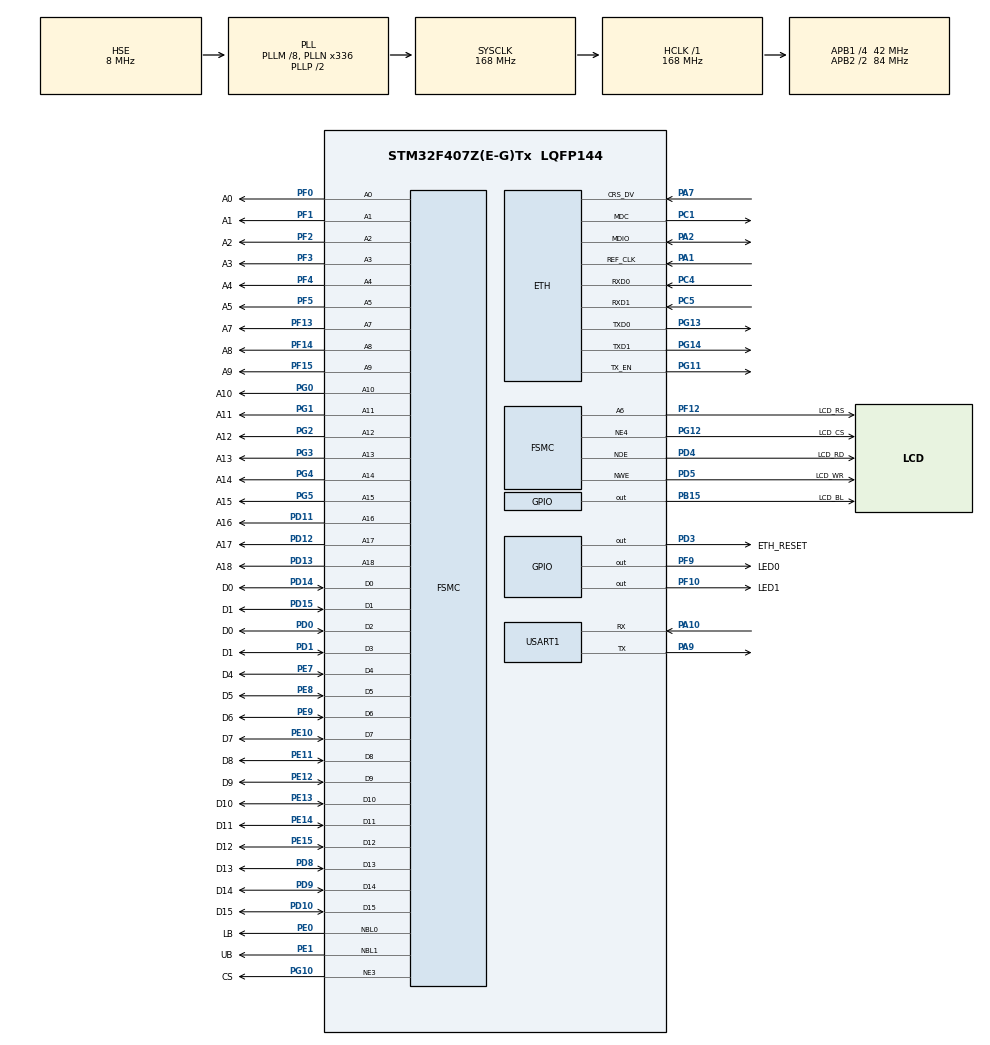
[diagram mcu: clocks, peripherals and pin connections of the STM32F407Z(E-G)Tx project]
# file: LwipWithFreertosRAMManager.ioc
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ETH.MediaInterface=ETH_MEDIA_INTERFACE_RMII
ETH.PHY_DUPLEX_STATUS=0x2000
ETH.PHY_Name_RMII=userPHY
ETH.PHY_SPEED_STATUS=0x4010
ETH.PHY_SR=0x11
ETH.PhyAddress=0
FREERTOS.HEAP_NUMBER=5
FREERTOS.MEMORY_ALLOCATION=0
FREERTOS.Tasks01=defaultTask,0,4096,StartDefaultTask,Default,NULL,Dynamic,NULL,NULL
FREERTOS.configTOTAL_HEAP_SIZE=40960
FSMC.AddressSetupTime1=2
FSMC.BusTurnAroundDuration1=0
FSMC.DataSetupTime1=8
FSMC.DataSetupTime2=60
FSMC.ExtendedAddressSetupTime2=9
FSMC.ExtendedDataSetupTime2=9
FSMC.ExtendedMode2=FSMC_EXTENDED_MODE_ENABLE
FSMC.WriteOperation1=FSMC_WRITE_OPERATION_ENABLE
LWIP.GATEWAY_ADDRESS=010.010.001.001
LWIP.IP_ADDRESS=010.010.001.022
LWIP.LWIP_ALLOW_MEM_FREE_FROM_OTHER_CONTEXT=0
LWIP.LWIP_DHCP=0
LWIP.LWIP_NETIF_LINK_CALLBACK=1
LWIP.MEMP_MEM_MALLOC=1
LWIP.MEMP_USE_CUSTOM_POOLS=0
LWIP.MEM_SIZE=16384
LWIP.MEM_USE_POOLS_TRY_BIGGER_POOL=0
LWIP.NETMASK_ADDRESS=255.255.255.000
LWIP.Version=v2.0.3_Cube
Mcu.Family=STM32F4
Mcu.Name=STM32F407Z(E-G)Tx
Mcu.Package=LQFP144
NVIC.ETH_IRQn=true\:5\:0\:false\:false\:true\:true\:true\:true
NVIC.PriorityGroup=NVIC_PRIORITYGROUP_4
NVIC.TIM1_UP_TIM10_IRQn=true\:0\:0\:false\:false\:true\:false\:false\:true
NVIC.TimeBase=TIM1_UP_TIM10_IRQn
NVIC.TimeBaseIP=TIM1
PA1.Mode=RMII
PA1.Signal=ETH_REF_CLK
PA10.Mode=Asynchronous
PA10.Signal=USART1_RX
PA13.Mode=Serial_Wire
PA13.Signal=SYS_JTMS-SWDIO
PA14.Mode=Serial_Wire
PA14.Signal=SYS_JTCK-SWCLK
PA2.Mode=RMII
PA2.Signal=ETH_MDIO
PA7.Mode=RMII
PA7.Signal=ETH_CRS_DV
PA9.Mode=Asynchronous
PA9.Signal=USART1_TX
PB15.GPIO_Label=LCD_BL
PB15.GPIO_PuPd=GPIO_PULLDOWN
PB15.GPIO_Speed=GPIO_SPEED_FREQ_HIGH
PB15.PinState=GPIO_PIN_SET
PB15.Signal=GPIO_Output
PC1.Mode=RMII
PC1.Signal=ETH_MDC
PC4.Mode=RMII
PC4.Signal=ETH_RXD0
PC5.Mode=RMII
PC5.Signal=ETH_RXD1
PD0.GPIO_Label=D0
PD0.GPIO_PuPd=GPIO_PULLUP
PD0.Signal=FSMC_D2_DA2
PD1.GPIO_Label=D1
PD1.GPIO_PuPd=GPIO_PULLUP
PD1.Signal=FSMC_D3_DA3
PD10.GPIO_Label=D15
PD10.GPIO_PuPd=GPIO_PULLUP
PD10.Signal=FSMC_D15_DA15
PD11.GPIO_Label=A16
PD11.GPIO_PuPd=GPIO_PULLUP
PD11.Signal=FSMC_A16_CLE
PD12.GPIO_Label=A17
PD12.GPIO_PuPd=GPIO_PULLUP
PD12.Signal=FSMC_A17_ALE
PD13.GPIO_Label=A18
PD13.GPIO_PuPd=GPIO_PULLUP
PD13.Signal=FSMC_A18
PD14.GPIO_Label=D0
PD14.GPIO_PuPd=GPIO_PULLUP
PD14.Signal=FSMC_D0_DA0
PD15.GPIO_Label=D1
PD15.GPIO_PuPd=GPIO_PULLUP
PD15.Signal=FSMC_D1_DA1
PD3.GPIO_Label=ETH_RESET
PD3.GPIO_Speed=GPIO_SPEED_FREQ_VERY_HIGH
PD3.PinState=GPIO_PIN_SET
PD3.Signal=GPIO_Output
PD4.GPIO_Label=LCD_RD
PD4.GPIO_PuPd=GPIO_PULLUP
PD4.Signal=FSMC_NOE
PD5.GPIO_Label=LCD_WR
PD5.GPIO_PuPd=GPIO_PULLUP
PD5.Signal=FSMC_NWE
PD8.GPIO_Label=D13
PD8.GPIO_PuPd=GPIO_PULLUP
PD8.Signal=FSMC_D13_DA13
PD9.GPIO_Label=D14
PD9.GPIO_PuPd=GPIO_PULLUP
PD9.Signal=FSMC_D14_DA14
PE0.GPIO_Label=LB
PE0.GPIO_PuPd=GPIO_PULLUP
PE0.Signal=FSMC_NBL0
PE1.GPIO_Label=UB
PE1.GPIO_PuPd=GPIO_PULLUP
PE1.Signal=FSMC_NBL1
PE10.GPIO_Label=D7
PE10.GPIO_PuPd=GPIO_PULLUP
PE10.Signal=FSMC_D7_DA7
PE11.GPIO_Label=D8
PE11.GPIO_PuPd=GPIO_PULLUP
PE11.Signal=FSMC_D8_DA8
PE12.GPIO_Label=D9
PE12.GPIO_PuPd=GPIO_PULLUP
PE12.Signal=FSMC_D9_DA9
PE13.GPIO_Label=D10
PE13.GPIO_PuPd=GPIO_PULLUP
PE13.Signal=FSMC_D10_DA10
PE14.GPIO_Label=D11
PE14.GPIO_PuPd=GPIO_PULLUP
PE14.Signal=FSMC_D11_DA11
PE15.GPIO_Label=D12
PE15.GPIO_PuPd=GPIO_PULLUP
PE15.Signal=FSMC_D12_DA12
PE7.GPIO_Label=D4
PE7.GPIO_PuPd=GPIO_PULLUP
PE7.Signal=FSMC_D4_DA4
PE8.GPIO_Label=D5
PE8.GPIO_PuPd=GPIO_PULLUP
PE8.Signal=FSMC_D5_DA5
PE9.GPIO_Label=D6
PE9.GPIO_PuPd=GPIO_PULLUP
PE9.Signal=FSMC_D6_DA6
PF0.GPIO_Label=A0
PF0.GPIO_PuPd=GPIO_PULLUP
PF0.Signal=FSMC_A0
PF1.GPIO_Label=A1
PF1.GPIO_PuPd=GPIO_PULLUP
PF1.Signal=FSMC_A1
PF10.GPIO_Label=LED1
PF10.GPIO_PuPd=GPIO_PULLUP
PF10.GPIO_Speed=GPIO_SPEED_FREQ_HIGH
PF10.PinState=GPIO_PIN_SET
PF10.Signal=GPIO_Output
PF12.GPIO_Label=LCD_RS
PF12.GPIO_PuPd=GPIO_PULLUP
PF12.Signal=FSMC_A6
PF13.GPIO_Label=A7
PF13.GPIO_PuPd=GPIO_PULLUP
PF13.Signal=FSMC_A7
PF14.GPIO_Label=A8
PF14.GPIO_PuPd=GPIO_PULLUP
PF14.Signal=FSMC_A8
PF15.GPIO_Label=A9
PF15.GPIO_PuPd=GPIO_PULLUP
PF15.Signal=FSMC_A9
PF2.GPIO_Label=A2
PF2.GPIO_PuPd=GPIO_PULLUP
PF2.Signal=FSMC_A2
PF3.GPIO_Label=A3
PF3.GPIO_PuPd=GPIO_PULLUP
PF3.Signal=FSMC_A3
PF4.GPIO_Label=A4
PF4.GPIO_PuPd=GPIO_PULLUP
PF4.Signal=FSMC_A4
PF5.GPIO_Label=A5
PF5.GPIO_PuPd=GPIO_PULLUP
PF5.Signal=FSMC_A5
PF9.GPIO_Label=LED0
PF9.GPIO_PuPd=GPIO_PULLUP
PF9.GPIO_Speed=GPIO_SPEED_FREQ_HIGH
PF9.PinState=GPIO_PIN_SET
PF9.Signal=GPIO_Output
PG0.GPIO_Label=A10
PG0.GPIO_PuPd=GPIO_PULLUP
PG0.Signal=FSMC_A10
PG1.GPIO_Label=A11
PG1.GPIO_PuPd=GPIO_PULLUP
PG1.Signal=FSMC_A11
PG10.GPIO_Label=CS
PG10.GPIO_PuPd=GPIO_PULLUP
PG10.Mode=NorPsramChipSelect3_1
PG10.Signal=FSMC_NE3
PG11.Mode=RMII
PG11.Signal=ETH_TX_EN
PG12.GPIO_Label=LCD_CS
PG12.GPIO_PuPd=GPIO_PULLUP
PG12.Mode=NorPsramChipSelect4_2
PG12.Signal=FSMC_NE4
PG13.Mode=RMII
PG13.Signal=ETH_TXD0
PG14.Mode=RMII
PG14.Signal=ETH_TXD1
PG2.GPIO_Label=A12
PG2.GPIO_PuPd=GPIO_PULLUP
PG2.Signal=FSMC_A12
PG3.GPIO_Label=A13
PG3.GPIO_PuPd=GPIO_PULLUP
PG3.Signal=FSMC_A13
PG4.GPIO_Label=A14
PG4.GPIO_PuPd=GPIO_PULLUP
PG4.Signal=FSMC_A14
PG5.GPIO_Label=A15
PG5.Signal=FSMC_A15
PH0-OSC_IN.Mode=HSE-External-Oscillator
PH0-OSC_IN.Signal=RCC_OSC_IN
PH1-OSC_OUT.Mode=HSE-External-Oscillator
PH1-OSC_OUT.Signal=RCC_OSC_OUT
ProjectManager.HeapSize=0x200
ProjectManager.StackSize=0x400
ProjectManager.TargetToolchain=MDK-ARM V5
RCC.48MHZClocksFreq_Value=84000000
RCC.AHBFreq_Value=168000000
RCC.APB1CLKDivider=RCC_HCLK_DIV4
RCC.APB1Freq_Value=42000000
RCC.APB1TimFreq_Value=84000000
RCC.APB2CLKDivider=RCC_HCLK_DIV2
RCC.APB2Freq_Value=84000000
RCC.APB2TimFreq_Value=168000000
RCC.CortexFreq_Value=168000000
RCC.HCLKFreq_Value=168000000
RCC.HSE_VALUE=8000000
RCC.HSI_VALUE=16000000
RCC.LSE_VALUE=32768
RCC.PLLM=8
RCC.PLLN=336
RCC.PLLSourceVirtual=RCC_PLLSOURCE_HSE
RCC.SYSCLKFreq_VALUE=168000000
RCC.SYSCLKSource=RCC_SYSCLKSOURCE_PLLCLK
RCC.VCOOutputFreq_Value=336000000
SH.FSMC_A0.0=FSMC_A0,19b-a1
SH.FSMC_A1.0=FSMC_A1,19b-a1
SH.FSMC_A10.0=FSMC_A10,19b-a1
SH.FSMC_A11.0=FSMC_A11,19b-a1
SH.FSMC_A12.0=FSMC_A12,19b-a1
SH.FSMC_A13.0=FSMC_A13,19b-a1
SH.FSMC_A14.0=FSMC_A14,19b-a1
SH.FSMC_A15.0=FSMC_A15,19b-a1
SH.FSMC_A16_CLE.0=FSMC_A16,19b-a1
SH.FSMC_A17_ALE.0=FSMC_A17,19b-a1
SH.FSMC_A18.0=FSMC_A18,19b-a1
SH.FSMC_A2.0=FSMC_A2,19b-a1
SH.FSMC_A3.0=FSMC_A3,19b-a1
SH.FSMC_A4.0=FSMC_A4,19b-a1
SH.FSMC_A5.0=FSMC_A5,19b-a1
SH.FSMC_A6.0=FSMC_A6,19b-a1
SH.FSMC_A6.1=FSMC_A6,A6_2
SH.FSMC_A7.0=FSMC_A7,19b-a1
SH.FSMC_A8.0=FSMC_A8,19b-a1
SH.FSMC_A9.0=FSMC_A9,19b-a1
SH.FSMC_D0_DA0.0=FSMC_D0,16b-d1
SH.FSMC_D0_DA0.1=FSMC_D0,16b-d2
SH.FSMC_D10_DA10.0=FSMC_D10,16b-d1
SH.FSMC_D10_DA10.1=FSMC_D10,16b-d2
SH.FSMC_D11_DA11.0=FSMC_D11,16b-d1
SH.FSMC_D11_DA11.1=FSMC_D11,16b-d2
SH.FSMC_D12_DA12.0=FSMC_D12,16b-d1
SH.FSMC_D12_DA12.1=FSMC_D12,16b-d2
SH.FSMC_D13_DA13.0=FSMC_D13,16b-d1
SH.FSMC_D13_DA13.1=FSMC_D13,16b-d2
SH.FSMC_D14_DA14.0=FSMC_D14,16b-d1
SH.FSMC_D14_DA14.1=FSMC_D14,16b-d2
SH.FSMC_D15_DA15.0=FSMC_D15,16b-d1
SH.FSMC_D15_DA15.1=FSMC_D15,16b-d2
SH.FSMC_D1_DA1.0=FSMC_D1,16b-d1
SH.FSMC_D1_DA1.1=FSMC_D1,16b-d2
SH.FSMC_D2_DA2.0=FSMC_D2,16b-d1
SH.FSMC_D2_DA2.1=FSMC_D2,16b-d2
SH.FSMC_D3_DA3.0=FSMC_D3,16b-d1
SH.FSMC_D3_DA3.1=FSMC_D3,16b-d2
SH.FSMC_D4_DA4.0=FSMC_D4,16b-d1
SH.FSMC_D4_DA4.1=FSMC_D4,16b-d2
SH.FSMC_D5_DA5.0=FSMC_D5,16b-d1
SH.FSMC_D5_DA5.1=FSMC_D5,16b-d2
SH.FSMC_D6_DA6.0=FSMC_D6,16b-d1
SH.FSMC_D6_DA6.1=FSMC_D6,16b-d2
SH.FSMC_D7_DA7.0=FSMC_D7,16b-d1
SH.FSMC_D7_DA7.1=FSMC_D7,16b-d2
SH.FSMC_D8_DA8.0=FSMC_D8,16b-d1
SH.FSMC_D8_DA8.1=FSMC_D8,16b-d2
SH.FSMC_D9_DA9.0=FSMC_D9,16b-d1
SH.FSMC_D9_DA9.1=FSMC_D9,16b-d2
SH.FSMC_NBL0.0=FSMC_NBL0,2ByteEnable1
SH.FSMC_NBL1.0=FSMC_NBL1,2ByteEnable1
SH.FSMC_NOE.0=FSMC_NOE,Sram1
SH.FSMC_NOE.1=FSMC_NOE,Lcd2
SH.FSMC_NWE.0=FSMC_NWE,Sram1
SH.FSMC_NWE.1=FSMC_NWE,Lcd2
USART1.VirtualMode=VM_ASYNC
VP_FREERTOS_VS_CMSIS_V1.Mode=CMSIS_V1
VP_LWIP_VS_Enabled.Mode=Enabled
VP_SYS_VS_tim1.Mode=TIM1
board=custom

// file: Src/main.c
/* USER CODE BEGIN Header */
/**
  ******************************************************************************
  * @file           : main.c
  * @brief          : Main program body
  ******************************************************************************
  * @attention
  *
  * <h2><center>&copy; Copyright (c) 2024 STMicroelectronics.
  * All rights reserved.</center></h2>
  *
  * This software component is licensed by ST under Ultimate Liberty license
  * SLA0044, the "License"; You may not use this file except in compliance with
  * the License. You may obtain a copy of the License at:
  *                             www.st.com/SLA0044
  *
  ******************************************************************************
  */
/* USER CODE END Header */

#include "main.h"
#include "cmsis_os.h"
#include "lwip.h"
#include "usart.h"
#include "gpio.h"
#include "fsmc.h"

/* USER CODE BEGIN Includes */
#include "delay.h"
#include "lcd.h"

#include "sram.h"  //sram_init
#include "mymalloc.h"  //my_mem_init

#include "FreeRTOS.h"
#include "task.h"

#include "lwipopts.h"  //lwipopts.h
/* USER CODE END Includes */

/* USER CODE BEGIN PV */
uint8_t lcd_id[12];
uint16_t colors[12] = {WHITE, BLACK, BLUE, RED, MAGENTA, GREEN, CYAN, YELLOW, BRRED, GRAY, LGRAY, BROWN};uint8_t color_index = 0;
uint8_t cur_brightness;
uint8_t* str[23];

// 定义堆区域数组
HeapRegion_t xHeapRegions[] = {
    { ( uint8_t * ) 0x68000000, 0xa000 },  // 定义从0x68000000开始的40K字节内存块
    { NULL, 0 }                            // 终止数组
};

void configureHeapRegions(void)
{
    vPortDefineHeapRegions(xHeapRegions);  // 定义堆区域
}

uint8_t paddr[20] = {0};                  /* 存放内存EXSRAM使用率 */
uint16_t memused = 0;                     /* 内存使用百分比 */
/* USER CODE END PV */

void SystemClock_Config(void);
void MX_FREERTOS_Init(void);

int main(void)
{

  /* MCU Configuration--------------------------------------------------------*/

  /* Reset of all peripherals, Initializes the Flash interface and the Systick. */
  HAL_Init();

  /* Configure the system clock */
  SystemClock_Config();

  /* Initialize all configured peripherals */
  MX_GPIO_Init();
  MX_USART1_UART_Init();
  MX_FSMC_Init();
  /* USER CODE BEGIN 2 */
	// 调用配置堆区域的函数
	configureHeapRegions();  //FreeRTOS定义heap5的堆区地址范围

	sram_init();                        /* 外扩SRAM初始化 */

	//my_mem_init(SRAMIN);                /* 初始化内部SRAM内存池 */
	my_mem_init(SRAMEX);                /* 初始化外部SRAM内存池 */
	my_mem_init(SRAMCCM);               /* 初始化内部CCM内存池 */

	//因为将外扩SRAM的头部40KB给FreeRTOS使用，所以要将这部分在内存管理表中对应的表项赋值为非零，表示已经被占用了，防止影响FreeRTOS的堆区
	my_mem_occupy(SRAMEX, 40*1024);

	memused = my_mem_perused(SRAMEX);
	sprintf((char *)paddr, "%d.%01d%%", memused / 10, memused % 10);
	printf("SRAMEX   USED: %s\n", (char *)paddr);

	//因为在外扩SRAM紧跟着FreeRTOS的空间后面给LWIP分配MEM_SIZE大小的空间，所以要将这部分在内存管理表中对应的表项赋值为非零
	my_mem_occupy_from(SRAMEX, 40*1024, MEM_SIZE);
	memused = my_mem_perused(SRAMEX);
	sprintf((char *)paddr, "%d.%01d%%", memused / 10, memused % 10);
	printf("SRAMEX   USED: %s\n", (char *)paddr);
  /* USER CODE END 2 */

  /* Call init function for freertos objects (in freertos.c) */
  MX_FREERTOS_Init();

  /* Start scheduler */
  osKernelStart();

  /* We should never get here as control is now taken by the scheduler */

  /* Infinite loop */
  while (1)
  {

  }
}

void SystemClock_Config(void)
{
  RCC_OscInitTypeDef RCC_OscInitStruct = {0};
  RCC_ClkInitTypeDef RCC_ClkInitStruct = {0};

  /** Configure the main internal regulator output voltage
  */
  __HAL_RCC_PWR_CLK_ENABLE();
  __HAL_PWR_VOLTAGESCALING_CONFIG(PWR_REGULATOR_VOLTAGE_SCALE1);
  /** Initializes the CPU, AHB and APB busses clocks
  */
  RCC_OscInitStruct.OscillatorType = RCC_OSCILLATORTYPE_HSE;
  RCC_OscInitStruct.HSEState = RCC_HSE_ON;
  RCC_OscInitStruct.PLL.PLLState = RCC_PLL_ON;
  RCC_OscInitStruct.PLL.PLLSource = RCC_PLLSOURCE_HSE;
  RCC_OscInitStruct.PLL.PLLM = 8;
  RCC_OscInitStruct.PLL.PLLN = 336;
  RCC_OscInitStruct.PLL.PLLP = RCC_PLLP_DIV2;
  RCC_OscInitStruct.PLL.PLLQ = 4;
  if (HAL_RCC_OscConfig(&RCC_OscInitStruct) != HAL_OK)
  {
    Error_Handler();
  }
  /** Initializes the CPU, AHB and APB busses clocks
  */
  RCC_ClkInitStruct.ClockType = RCC_CLOCKTYPE_HCLK|RCC_CLOCKTYPE_SYSCLK
                              |RCC_CLOCKTYPE_PCLK1|RCC_CLOCKTYPE_PCLK2;
  RCC_ClkInitStruct.SYSCLKSource = RCC_SYSCLKSOURCE_PLLCLK;
  RCC_ClkInitStruct.AHBCLKDivider = RCC_SYSCLK_DIV1;
  RCC_ClkInitStruct.APB1CLKDivider = RCC_HCLK_DIV4;
  RCC_ClkInitStruct.APB2CLKDivider = RCC_HCLK_DIV2;

  if (HAL_RCC_ClockConfig(&RCC_ClkInitStruct, FLASH_LATENCY_5) != HAL_OK)
  {
    Error_Handler();
  }
}

void HAL_TIM_PeriodElapsedCallback(TIM_HandleTypeDef *htim)
{
  if (htim->Instance == TIM1) {
    HAL_IncTick();
  }
}

void Error_Handler(void)
{
}

/************************ (C) COPYRIGHT STMicroelectronics *****END OF FILE****/

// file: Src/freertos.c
/* USER CODE BEGIN Header */
/**
  ******************************************************************************
  * File Name          : freertos.c
  * Description        : Code for freertos applications
  ******************************************************************************
  * @attention
  *
  * <h2><center>&copy; Copyright (c) 2024 STMicroelectronics.
  * All rights reserved.</center></h2>
  *
  * This software component is licensed by ST under Ultimate Liberty license
  * SLA0044, the "License"; You may not use this file except in compliance with
  * the License. You may obtain a copy of the License at:
  *                             www.st.com/SLA0044
  *
  ******************************************************************************
  */
/* USER CODE END Header */

#include "FreeRTOS.h"
#include "task.h"
#include "main.h"
#include "cmsis_os.h"

/* USER CODE BEGIN Includes */
#include "delay.h"
#include "lcd.h"
#include "stdio.h"  //sprintf

/* USER CODE END Includes */

/* USER CODE BEGIN Variables */
//lcd
extern uint8_t lcd_id[12]; //main.c
extern uint16_t colors[];  //main.c
extern uint8_t color_index;  //main.c

/* USER CODE END Variables */
osThreadId defaultTaskHandle;

void StartDefaultTask(void const * argument);

extern void MX_LWIP_Init(void);
void MX_FREERTOS_Init(void); /* (MISRA C 2004 rule 8.1) */

void MX_FREERTOS_Init(void) {

  /* Create the thread(s) */
  /* definition and creation of defaultTask */
  osThreadDef(defaultTask, StartDefaultTask, osPriorityNormal, 0, 4096);
  defaultTaskHandle = osThreadCreate(osThread(defaultTask), NULL);

}

void StartDefaultTask(void const * argument)
{

  /* init code for LWIP */
  MX_LWIP_Init();

  /* USER CODE BEGIN StartDefaultTask */
	taskENTER_CRITICAL();           /* 进入临界区 */
	delay_init(168);                        /* 延时初始化 */
	lcd_init();                             /* 初始化LCD */
  g_point_color = RED;
  sprintf((char *)lcd_id, "LCD ID:%04X", lcddev.id);  /* 将LCD ID打印到lcd_id数组 */
	HAL_GPIO_WritePin(LED1_GPIO_Port, LED1_Pin, GPIO_PIN_RESET);  //LED1亮
	lcd_set_backlight_by_pwm(0xFF); // 设置占空比为255，开启背光最亮
	lcd_clear(colors[color_index]);  //清屏
	taskEXIT_CRITICAL();            /* 退出临界区 */
  /* Infinite loop */
  for(;;)
  {
    osDelay(1);
  }
  /* USER CODE END StartDefaultTask */
}

/************************ (C) COPYRIGHT STMicroelectronics *****END OF FILE****/
